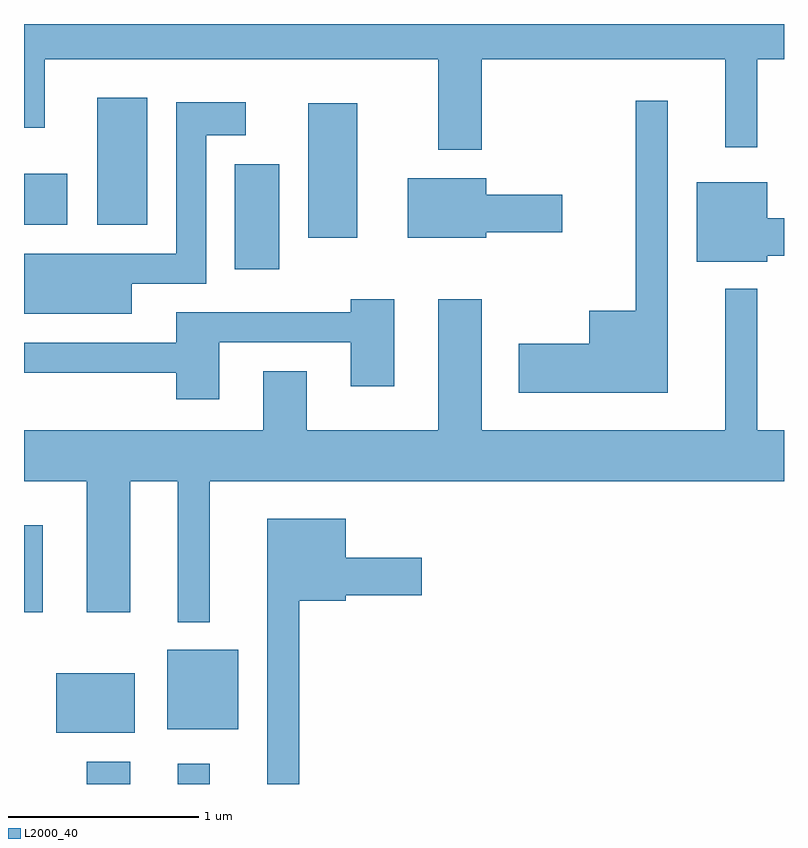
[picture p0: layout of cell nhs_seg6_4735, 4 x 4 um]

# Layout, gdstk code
import gdstk
lib = gdstk.Library(unit=1e-6, precision=1e-09)
def R(c, l, rs):  # rectangles x0, y0, x1, y1
    for r in rs: c.add(gdstk.rectangle(r[:2], r[2:], *l))
def P(c, l, *ps):  # polygons
    for p in ps: c.add(gdstk.Polygon(p, *l))
L2000_40 = (2000, 40)

nhs_seg6_4735 = lib.new_cell('nhs_seg6_4735')
R(nhs_seg6_4735, L2000_40, [(329.941,1606.162,330.169,1606.279), (330.421,1606.162,330.589,1606.268), (329.781,1606.431,330.194,1606.744), (330.366,1606.451,330.739,1606.869), (329.611,1607.066,329.709,1607.524), (330.721,1608.871,330.954,1609.424), (331.106,1609.036,331.364,1609.744), (329.611,1609.106,329.839,1609.374), (329.996,1609.106,330.259,1609.774)])
P(nhs_seg6_4735, L2000_40, [(332.019,1609.976),(333.301,1609.976),(333.301,1609.513),(333.469,1609.513),(333.469,1609.976),(333.611,1609.976),(333.611,1610.162),(329.611,1610.162),(329.611,1609.616),(329.719,1609.616),(329.719,1609.976),(331.791,1609.976),(331.791,1609.501),(332.019,1609.501)],
  [(332.999,1609.758),(332.831,1609.758),(332.831,1608.654),(332.586,1608.654),(332.586,1608.479),(332.216,1608.479),(332.216,1608.221),(332.999,1608.221)],
  [(330.179,1608.796),(330.569,1608.796),(330.569,1609.576),(330.779,1609.576),(330.779,1609.749),(330.411,1609.749),(330.411,1608.954),(329.611,1608.954),(329.611,1608.636),(330.179,1608.636)],
  [(332.044,1609.066),(332.444,1609.066),(332.444,1609.264),(332.044,1609.264),(332.044,1609.349),(331.631,1609.349),(331.631,1609.036),(332.044,1609.036)],
  [(333.524,1608.941),(333.611,1608.941),(333.611,1609.139),(333.524,1609.139),(333.524,1609.329),(333.151,1609.329),(333.151,1608.911),(333.524,1608.911)],
  [(330.589,1607.756),(333.611,1607.756),(333.611,1608.024),(333.469,1608.024),(333.469,1608.768),(333.301,1608.768),(333.301,1608.024),(332.019,1608.024),(332.019,1608.714),(331.791,1608.714),(331.791,1608.024),(331.099,1608.024),(331.099,1608.334),(330.871,1608.334),(330.871,1608.024),(329.611,1608.024),(329.611,1607.756),(329.941,1607.756),(329.941,1607.066),(330.169,1607.066),(330.169,1607.756),(330.421,1607.756),(330.421,1607.013),(330.589,1607.013)],
  [(330.639,1608.486),(331.331,1608.486),(331.331,1608.256),(331.559,1608.256),(331.559,1608.714),(331.331,1608.714),(331.331,1608.644),(330.411,1608.644),(330.411,1608.484),(329.611,1608.484),(329.611,1608.326),(330.411,1608.326),(330.411,1608.186),(330.639,1608.186)],
  [(331.059,1607.126),(331.304,1607.126),(331.304,1607.156),(331.704,1607.156),(331.704,1607.354),(331.304,1607.354),(331.304,1607.559),(330.891,1607.559),(330.891,1606.162),(331.059,1606.162)])

lib.write_gds('nhs_seg6_4735.gds')
